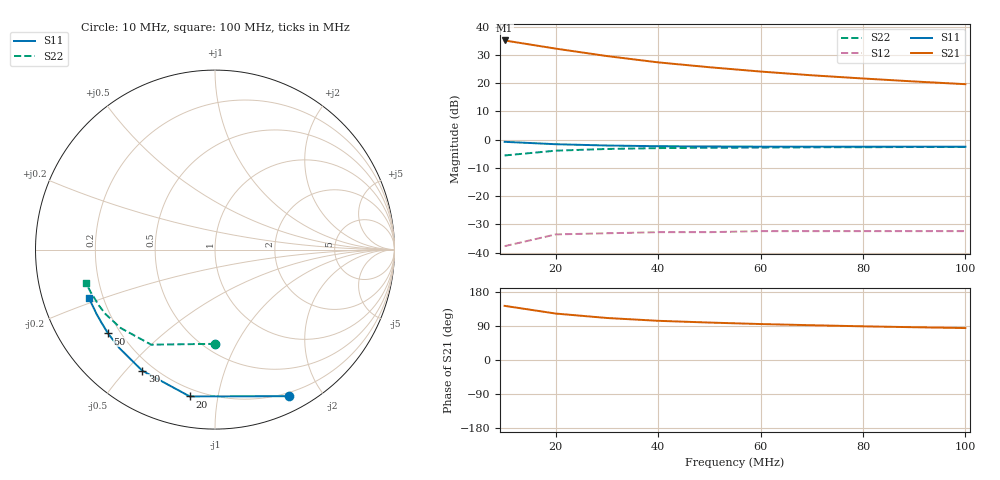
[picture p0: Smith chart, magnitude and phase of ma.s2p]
# MHZ  S  MA  R  50.0000
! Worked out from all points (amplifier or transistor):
!   10 points, 10 MHz to 100 MHz, reference 50 ohm
!   highest |S21| = 35.1 dB at 10 MHz (marker M1)
!   |S21| within 3 dB of that: start of sweep to 20.4 MHz
!   unconditionally stable (mu >= 1): nowhere
!   at 20 MHz: K = 0.03, MSG = 32.9 dB, |S12| = -33.6 dB
!   at 60 MHz: K = 0.09, MSG = 28.3 dB, |S12| = -32.4 dB
!   at 100 MHz: K = 0.15, MSG = 26.0 dB, |S12| = -32.4 dB
!   S11 on the Smith chart (normalised r, x): 10 MHz: 0.16, -1.61; 20 MHz: 0.16, -0.83; 30 MHz: 0.16, -0.56; 50 MHz: 0.15, -0.34; 100 MHz: 0.15, -0.18
10  0.915 -63.2  57.03 142.9  0.013 51.9  0.525 -89.7
20  0.83 -99.8  40.87 122.5  0.021 32.5  0.638 -123.9
30  0.787 -121.0  30.18 110.9  0.022 20.8  0.684 -140.4
40  0.765 -134.1  23.33 103.4  0.023 15.2  0.708 -149.6
50  0.757 -141.9  19.15 98.8  0.023 10.4  0.719 -154.7
60  0.752 -147.4  16.06 94.9  0.024 5.9  0.724 -158.2
70  0.751 -151.5  13.79 91.7  0.024 2.8  0.732 -160.9
80  0.75 -154.6  12.1 88.9  0.024 2.8  0.735 -162.6
90  0.751 -156.7  10.72 86.5  0.024 -0.8  0.74 -164.2
100  0.75 -159.0  9.593 84.3  0.024 -3.2  0.742 -165.3
